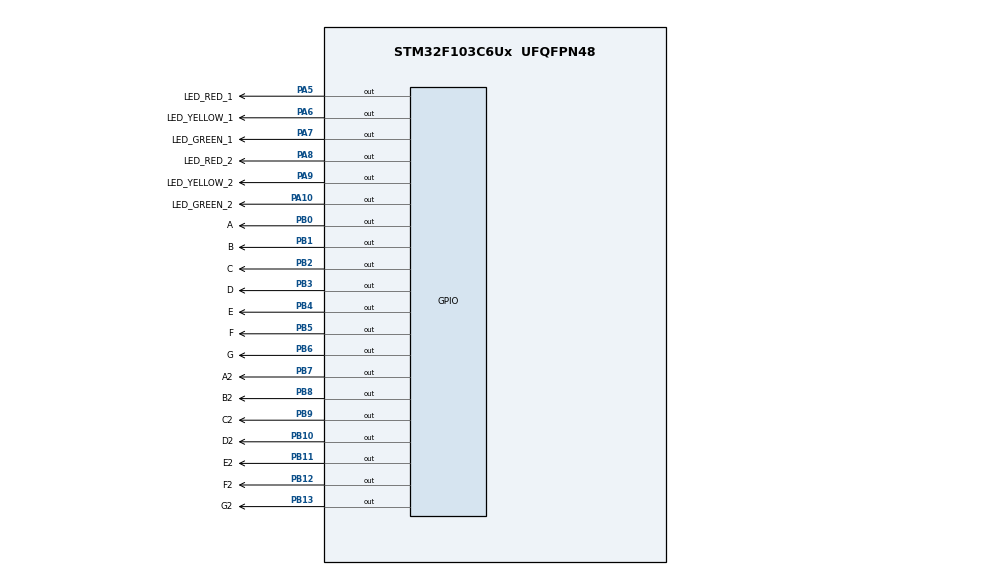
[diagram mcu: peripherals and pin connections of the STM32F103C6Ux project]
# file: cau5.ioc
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Mcu.Family=STM32F1
Mcu.Name=STM32F103C6Ux
Mcu.Package=UFQFPN48
NVIC.PriorityGroup=NVIC_PRIORITYGROUP_4
PA10.GPIO_Label=LED_GREEN_2
PA10.Signal=GPIO_Output
PA5.GPIO_Label=LED_RED_1
PA5.Signal=GPIO_Output
PA6.GPIO_Label=LED_YELLOW_1
PA6.Signal=GPIO_Output
PA7.GPIO_Label=LED_GREEN_1
PA7.Signal=GPIO_Output
PA8.GPIO_Label=LED_RED_2
PA8.Signal=GPIO_Output
PA9.GPIO_Label=LED_YELLOW_2
PA9.Signal=GPIO_Output
PB0.GPIO_Label=A
PB0.Signal=GPIO_Output
PB1.GPIO_Label=B
PB1.Signal=GPIO_Output
PB10.GPIO_Label=D2
PB10.Signal=GPIO_Output
PB11.GPIO_Label=E2
PB11.Signal=GPIO_Output
PB12.GPIO_Label=F2
PB12.Signal=GPIO_Output
PB13.GPIO_Label=G2
PB13.Signal=GPIO_Output
PB2.GPIO_Label=C
PB2.Signal=GPIO_Output
PB3.GPIO_Label=D
PB3.Signal=GPIO_Output
PB4.GPIO_Label=E
PB4.Signal=GPIO_Output
PB5.GPIO_Label=F
PB5.Signal=GPIO_Output
PB6.GPIO_Label=G
PB6.Signal=GPIO_Output
PB7.GPIO_Label=A2
PB7.Signal=GPIO_Output
PB8.GPIO_Label=B2
PB8.Signal=GPIO_Output
PB9.GPIO_Label=C2
PB9.Signal=GPIO_Output
ProjectManager.HeapSize=0x200
ProjectManager.StackSize=0x400
ProjectManager.TargetToolchain=STM32CubeIDE
RCC.APB1Freq_Value=8000000
RCC.APB2Freq_Value=8000000
board=custom

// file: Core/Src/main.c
/* USER CODE BEGIN Header */
/**
  ******************************************************************************
  * @file           : main.c
  * @brief          : Main program body
  ******************************************************************************
  * @attention
  *
  * Copyright (c) 2022 STMicroelectronics.
  * All rights reserved.
  *
  * This software is licensed under terms that can be found in the LICENSE file
  * in the root directory of this software component.
  * If no LICENSE file comes with this software, it is provided AS-IS.
  *
  ******************************************************************************
  */
/* USER CODE END Header */
#include "main.h"

/* USER CODE BEGIN PV */

int dem1 = 10;
int dem2 = 10;

/* USER CODE END PV */

void SystemClock_Config(void);
static void MX_GPIO_Init(void);
/* USER CODE BEGIN PFP */

void display7SEG(int num)
{
	if (num == 0)
	{
		HAL_GPIO_WritePin(A_GPIO_Port,A_Pin,0);
		HAL_GPIO_WritePin(B_GPIO_Port,B_Pin,0);
		HAL_GPIO_WritePin(C_GPIO_Port,C_Pin,0);
		HAL_GPIO_WritePin(D_GPIO_Port,D_Pin,0);
		HAL_GPIO_WritePin(E_GPIO_Port,E_Pin,0);
		HAL_GPIO_WritePin(F_GPIO_Port,F_Pin,0);
		HAL_GPIO_WritePin(G_GPIO_Port,G_Pin,1);
	}
	if (num == 1)
	{
		HAL_GPIO_WritePin(A_GPIO_Port,A_Pin,1);
		HAL_GPIO_WritePin(B_GPIO_Port,B_Pin,0);
		HAL_GPIO_WritePin(C_GPIO_Port,C_Pin,0);
		HAL_GPIO_WritePin(D_GPIO_Port,D_Pin,1);
		HAL_GPIO_WritePin(E_GPIO_Port,E_Pin,1);
		HAL_GPIO_WritePin(F_GPIO_Port,F_Pin,1);
		HAL_GPIO_WritePin(G_GPIO_Port,G_Pin,1);
	}
	if (num == 2)
	{
		HAL_GPIO_WritePin(A_GPIO_Port,A_Pin,0);
		HAL_GPIO_WritePin(B_GPIO_Port,B_Pin,0);
		HAL_GPIO_WritePin(C_GPIO_Port,C_Pin,1);
		HAL_GPIO_WritePin(D_GPIO_Port,D_Pin,0);
		HAL_GPIO_WritePin(E_GPIO_Port,E_Pin,0);
		HAL_GPIO_WritePin(F_GPIO_Port,F_Pin,1);
		HAL_GPIO_WritePin(G_GPIO_Port,G_Pin,0);
	}
	if (num == 3)
	{
		HAL_GPIO_WritePin(A_GPIO_Port,A_Pin,0);
		HAL_GPIO_WritePin(B_GPIO_Port,B_Pin,0);
		HAL_GPIO_WritePin(C_GPIO_Port,C_Pin,0);
		HAL_GPIO_WritePin(D_GPIO_Port,D_Pin,0);
		HAL_GPIO_WritePin(E_GPIO_Port,E_Pin,1);
		HAL_GPIO_WritePin(F_GPIO_Port,F_Pin,1);
		HAL_GPIO_WritePin(G_GPIO_Port,G_Pin,0);
	}
	if (num == 4)
	{
		HAL_GPIO_WritePin(A_GPIO_Port,A_Pin,1);
		HAL_GPIO_WritePin(B_GPIO_Port,B_Pin,0);
		HAL_GPIO_WritePin(C_GPIO_Port,C_Pin,0);
		HAL_GPIO_WritePin(D_GPIO_Port,D_Pin,1);
		HAL_GPIO_WritePin(E_GPIO_Port,E_Pin,1);
		HAL_GPIO_WritePin(F_GPIO_Port,F_Pin,0);
		HAL_GPIO_WritePin(G_GPIO_Port,G_Pin,0);
	}
	if (num == 5)
	{
		HAL_GPIO_WritePin(A_GPIO_Port,A_Pin,0);
		HAL_GPIO_WritePin(B_GPIO_Port,B_Pin,1);
		HAL_GPIO_WritePin(C_GPIO_Port,C_Pin,0);
		HAL_GPIO_WritePin(D_GPIO_Port,D_Pin,0);
		HAL_GPIO_WritePin(E_GPIO_Port,E_Pin,1);
		HAL_GPIO_WritePin(F_GPIO_Port,F_Pin,0);
		HAL_GPIO_WritePin(G_GPIO_Port,G_Pin,0);
	}
	if (num == 6)
	{
		HAL_GPIO_WritePin(A_GPIO_Port,A_Pin,0);
		HAL_GPIO_WritePin(B_GPIO_Port,B_Pin,1);
		HAL_GPIO_WritePin(C_GPIO_Port,C_Pin,0);
		HAL_GPIO_WritePin(D_GPIO_Port,D_Pin,0);
		HAL_GPIO_WritePin(E_GPIO_Port,E_Pin,0);
		HAL_GPIO_WritePin(F_GPIO_Port,F_Pin,0);
		HAL_GPIO_WritePin(G_GPIO_Port,G_Pin,0);
	}
	if (num == 7)
	{
		HAL_GPIO_WritePin(A_GPIO_Port,A_Pin,0);
		HAL_GPIO_WritePin(B_GPIO_Port,B_Pin,0);
		HAL_GPIO_WritePin(C_GPIO_Port,C_Pin,0);
		HAL_GPIO_WritePin(D_GPIO_Port,D_Pin,1);
		HAL_GPIO_WritePin(E_GPIO_Port,E_Pin,1);
		HAL_GPIO_WritePin(F_GPIO_Port,F_Pin,1);
		HAL_GPIO_WritePin(G_GPIO_Port,G_Pin,1);
	}
	if (num == 8)
	{
		HAL_GPIO_WritePin(A_GPIO_Port,A_Pin,0);
		HAL_GPIO_WritePin(B_GPIO_Port,B_Pin,0);
		HAL_GPIO_WritePin(C_GPIO_Port,C_Pin,0);
		HAL_GPIO_WritePin(D_GPIO_Port,D_Pin,0);
		HAL_GPIO_WritePin(E_GPIO_Port,E_Pin,0);
		HAL_GPIO_WritePin(F_GPIO_Port,F_Pin,0);
		HAL_GPIO_WritePin(G_GPIO_Port,G_Pin,0);
	}
	if (num == 9)
	{
		HAL_GPIO_WritePin(A_GPIO_Port,A_Pin,0);
		HAL_GPIO_WritePin(B_GPIO_Port,B_Pin,0);
		HAL_GPIO_WritePin(C_GPIO_Port,C_Pin,0);
		HAL_GPIO_WritePin(D_GPIO_Port,D_Pin,0);
		HAL_GPIO_WritePin(E_GPIO_Port,E_Pin,1);
		HAL_GPIO_WritePin(F_GPIO_Port,F_Pin,0);
		HAL_GPIO_WritePin(G_GPIO_Port,G_Pin,0);
	}
}

void display7SEG_2(int num)
{
	if (num == 0)
	{
		HAL_GPIO_WritePin(A2_GPIO_Port,A2_Pin,0);
		HAL_GPIO_WritePin(B2_GPIO_Port,B2_Pin,0);
		HAL_GPIO_WritePin(C2_GPIO_Port,C2_Pin,0);
		HAL_GPIO_WritePin(D2_GPIO_Port,D2_Pin,0);
		HAL_GPIO_WritePin(E2_GPIO_Port,E2_Pin,0);
		HAL_GPIO_WritePin(F2_GPIO_Port,F2_Pin,0);
		HAL_GPIO_WritePin(G2_GPIO_Port,G2_Pin,1);
	}
	if (num == 1)
	{
		HAL_GPIO_WritePin(A2_GPIO_Port,A2_Pin,1);
		HAL_GPIO_WritePin(B2_GPIO_Port,B2_Pin,0);
		HAL_GPIO_WritePin(C2_GPIO_Port,C2_Pin,0);
		HAL_GPIO_WritePin(D2_GPIO_Port,D2_Pin,1);
		HAL_GPIO_WritePin(E2_GPIO_Port,E2_Pin,1);
		HAL_GPIO_WritePin(F2_GPIO_Port,F2_Pin,1);
		HAL_GPIO_WritePin(G2_GPIO_Port,G2_Pin,1);
	}
	if (num == 2)
	{
		HAL_GPIO_WritePin(A2_GPIO_Port,A2_Pin,0);
		HAL_GPIO_WritePin(B2_GPIO_Port,B2_Pin,0);
		HAL_GPIO_WritePin(C2_GPIO_Port,C2_Pin,1);
		HAL_GPIO_WritePin(D2_GPIO_Port,D2_Pin,0);
		HAL_GPIO_WritePin(E2_GPIO_Port,E2_Pin,0);
		HAL_GPIO_WritePin(F2_GPIO_Port,F2_Pin,1);
		HAL_GPIO_WritePin(G2_GPIO_Port,G2_Pin,0);
	}
	if (num == 3)
	{
		HAL_GPIO_WritePin(A2_GPIO_Port,A2_Pin,0);
		HAL_GPIO_WritePin(B2_GPIO_Port,B2_Pin,0);
		HAL_GPIO_WritePin(C2_GPIO_Port,C2_Pin,0);
		HAL_GPIO_WritePin(D2_GPIO_Port,D2_Pin,0);
		HAL_GPIO_WritePin(E2_GPIO_Port,E2_Pin,1);
		HAL_GPIO_WritePin(F2_GPIO_Port,F2_Pin,1);
		HAL_GPIO_WritePin(G2_GPIO_Port,G2_Pin,0);
	}
	if (num == 4)
	{
		HAL_GPIO_WritePin(A2_GPIO_Port,A2_Pin,1);
		HAL_GPIO_WritePin(B2_GPIO_Port,B2_Pin,0);
		HAL_GPIO_WritePin(C2_GPIO_Port,C2_Pin,0);
		HAL_GPIO_WritePin(D2_GPIO_Port,D2_Pin,1);
		HAL_GPIO_WritePin(E2_GPIO_Port,E2_Pin,1);
		HAL_GPIO_WritePin(F2_GPIO_Port,F2_Pin,0);
		HAL_GPIO_WritePin(G2_GPIO_Port,G2_Pin,0);
	}
	if (num == 5)
	{
		HAL_GPIO_WritePin(A2_GPIO_Port,A2_Pin,0);
		HAL_GPIO_WritePin(B2_GPIO_Port,B2_Pin,1);
		HAL_GPIO_WritePin(C2_GPIO_Port,C2_Pin,0);
		HAL_GPIO_WritePin(D2_GPIO_Port,D2_Pin,0);
		HAL_GPIO_WritePin(E2_GPIO_Port,E2_Pin,1);
		HAL_GPIO_WritePin(F2_GPIO_Port,F2_Pin,0);
		HAL_GPIO_WritePin(G2_GPIO_Port,G2_Pin,0);
	}
	if (num == 6)
	{
		HAL_GPIO_WritePin(A2_GPIO_Port,A2_Pin,0);
		HAL_GPIO_WritePin(B2_GPIO_Port,B2_Pin,1);
		HAL_GPIO_WritePin(C2_GPIO_Port,C2_Pin,0);
		HAL_GPIO_WritePin(D2_GPIO_Port,D2_Pin,0);
		HAL_GPIO_WritePin(E2_GPIO_Port,E2_Pin,0);
		HAL_GPIO_WritePin(F2_GPIO_Port,F2_Pin,0);
		HAL_GPIO_WritePin(G2_GPIO_Port,G2_Pin,0);
	}
	if (num == 7)
	{
		HAL_GPIO_WritePin(A2_GPIO_Port,A2_Pin,0);
		HAL_GPIO_WritePin(B2_GPIO_Port,B2_Pin,0);
		HAL_GPIO_WritePin(C2_GPIO_Port,C2_Pin,0);
		HAL_GPIO_WritePin(D2_GPIO_Port,D2_Pin,1);
		HAL_GPIO_WritePin(E2_GPIO_Port,E2_Pin,1);
		HAL_GPIO_WritePin(F2_GPIO_Port,F2_Pin,1);
		HAL_GPIO_WritePin(G2_GPIO_Port,G2_Pin,1);
	}
	if (num == 8)
	{
		HAL_GPIO_WritePin(A2_GPIO_Port,A2_Pin,0);
		HAL_GPIO_WritePin(B2_GPIO_Port,B2_Pin,0);
		HAL_GPIO_WritePin(C2_GPIO_Port,C2_Pin,0);
		HAL_GPIO_WritePin(D2_GPIO_Port,D2_Pin,0);
		HAL_GPIO_WritePin(E2_GPIO_Port,E2_Pin,0);
		HAL_GPIO_WritePin(F2_GPIO_Port,F2_Pin,0);
		HAL_GPIO_WritePin(G2_GPIO_Port,G2_Pin,0);
	}
	if (num == 9)
	{
		HAL_GPIO_WritePin(A2_GPIO_Port,A2_Pin,0);
		HAL_GPIO_WritePin(B2_GPIO_Port,B2_Pin,0);
		HAL_GPIO_WritePin(C2_GPIO_Port,C2_Pin,0);
		HAL_GPIO_WritePin(D2_GPIO_Port,D2_Pin,0);
		HAL_GPIO_WritePin(E2_GPIO_Port,E2_Pin,1);
		HAL_GPIO_WritePin(F2_GPIO_Port,F2_Pin,0);
		HAL_GPIO_WritePin(G2_GPIO_Port,G2_Pin,0);
	}
}

/* USER CODE END PFP */

int main(void)
{

  /* MCU Configuration--------------------------------------------------------*/

  /* Reset of all peripherals, Initializes the Flash interface and the Systick. */
  HAL_Init();

  /* Configure the system clock */
  SystemClock_Config();

  /* Initialize all configured peripherals */
  MX_GPIO_Init();

  /* Infinite loop */
  /* USER CODE BEGIN WHILE */
  while (1)
  {
	  // DEN 111111
	  if(dem1 <= 10 && dem1 > 5)	// do
	  {
		  HAL_GPIO_WritePin(LED_RED_1_GPIO_Port,LED_RED_1_Pin,0); 		// red sang
		  HAL_GPIO_WritePin(LED_GREEN_1_GPIO_Port,LED_GREEN_1_Pin,1);	// green tat
		  HAL_GPIO_WritePin(LED_YELLOW_1_GPIO_Port,LED_YELLOW_1_Pin,1);	// yel tat

		  display7SEG(dem1 - 6);
	  }
	  if (dem1 <= 5 && dem1 > 2)	// xanh
	  {
		  HAL_GPIO_WritePin(LED_RED_1_GPIO_Port,LED_RED_1_Pin,1);		// red tat
		  HAL_GPIO_WritePin(LED_GREEN_1_GPIO_Port,LED_GREEN_1_Pin,0);	// green sang
		  HAL_GPIO_WritePin(LED_YELLOW_1_GPIO_Port,LED_YELLOW_1_Pin,1);	// yel tat

		  display7SEG(dem1 - 3);
	  }
	  if (dem1 <= 2)	// vang
	  {
		  HAL_GPIO_WritePin(LED_RED_1_GPIO_Port,LED_RED_1_Pin,1);		// red tat
		  HAL_GPIO_WritePin(LED_GREEN_1_GPIO_Port,LED_GREEN_1_Pin,1);	// green tat
		  HAL_GPIO_WritePin(LED_YELLOW_1_GPIO_Port,LED_YELLOW_1_Pin,0);	// yel sang

		  display7SEG(dem1 - 1);
	  }

	  // DEN 2222222
	  if(dem2 <= 10 && dem2 > 8)	// xanh 2 hd
	  {
		  HAL_GPIO_WritePin(LED_RED_2_GPIO_Port,LED_RED_2_Pin,1);		// red tat
		  HAL_GPIO_WritePin(LED_GREEN_2_GPIO_Port,LED_GREEN_2_Pin,0);	// green sang
		  HAL_GPIO_WritePin(LED_YELLOW_2_GPIO_Port,LED_YELLOW_2_Pin,1);	// yel tat

		  display7SEG_2(dem2 - 8);
	  }
	  if (dem2 <= 8 && dem2 > 5)	// vang 2 hd
	  {
		  HAL_GPIO_WritePin(LED_RED_2_GPIO_Port,LED_RED_2_Pin,1);		// red tat
		  HAL_GPIO_WritePin(LED_GREEN_2_GPIO_Port,LED_GREEN_2_Pin,1);	// green tat
		  HAL_GPIO_WritePin(LED_YELLOW_2_GPIO_Port,LED_YELLOW_2_Pin,0);	// yel sang

		  display7SEG_2(dem2 - 6);
	  }
	  if (dem2 <= 5)	// do 2 hd
	  {
		  HAL_GPIO_WritePin(LED_RED_2_GPIO_Port,LED_RED_2_Pin,0); 		// red sang
		  HAL_GPIO_WritePin(LED_GREEN_2_GPIO_Port,LED_GREEN_2_Pin,1);	// green tat
		  HAL_GPIO_WritePin(LED_YELLOW_2_GPIO_Port,LED_YELLOW_2_Pin,1);	// yel tat

		  display7SEG_2(dem2 - 1);
	  }

	  dem1--;
	  dem2--;

	  if (dem1 == 0)
	  {
		  dem1 = 10;
		  dem2 = 10;
	  }

	  HAL_Delay (1000);

    /* USER CODE END WHILE */

  }
}

void SystemClock_Config(void)
{
  RCC_OscInitTypeDef RCC_OscInitStruct = {0};
  RCC_ClkInitTypeDef RCC_ClkInitStruct = {0};

  /** Initializes the RCC Oscillators according to the specified parameters
  * in the RCC_OscInitTypeDef structure.
  */
  RCC_OscInitStruct.OscillatorType = RCC_OSCILLATORTYPE_HSI;
  RCC_OscInitStruct.HSIState = RCC_HSI_ON;
  RCC_OscInitStruct.HSICalibrationValue = RCC_HSICALIBRATION_DEFAULT;
  RCC_OscInitStruct.PLL.PLLState = RCC_PLL_NONE;
  if (HAL_RCC_OscConfig(&RCC_OscInitStruct) != HAL_OK)
  {
    Error_Handler();
  }

  /** Initializes the CPU, AHB and APB buses clocks
  */
  RCC_ClkInitStruct.ClockType = RCC_CLOCKTYPE_HCLK|RCC_CLOCKTYPE_SYSCLK
                              |RCC_CLOCKTYPE_PCLK1|RCC_CLOCKTYPE_PCLK2;
  RCC_ClkInitStruct.SYSCLKSource = RCC_SYSCLKSOURCE_HSI;
  RCC_ClkInitStruct.AHBCLKDivider = RCC_SYSCLK_DIV1;
  RCC_ClkInitStruct.APB1CLKDivider = RCC_HCLK_DIV1;
  RCC_ClkInitStruct.APB2CLKDivider = RCC_HCLK_DIV1;

  if (HAL_RCC_ClockConfig(&RCC_ClkInitStruct, FLASH_LATENCY_0) != HAL_OK)
  {
    Error_Handler();
  }
}

static void MX_GPIO_Init(void)
{
  GPIO_InitTypeDef GPIO_InitStruct = {0};

  /* GPIO Ports Clock Enable */
  __HAL_RCC_GPIOA_CLK_ENABLE();
  __HAL_RCC_GPIOB_CLK_ENABLE();

  /*Configure GPIO pin Output Level */
  HAL_GPIO_WritePin(GPIOA, LED_RED_1_Pin|LED_YELLOW_1_Pin|LED_GREEN_1_Pin|LED_RED_2_Pin
                          |LED_YELLOW_2_Pin|LED_GREEN_2_Pin, GPIO_PIN_RESET);

  /*Configure GPIO pin Output Level */
  HAL_GPIO_WritePin(GPIOB, A_Pin|B_Pin|C_Pin|D2_Pin
                          |E2_Pin|F2_Pin|G2_Pin|D_Pin
                          |E_Pin|F_Pin|G_Pin|A2_Pin
                          |B2_Pin|C2_Pin, GPIO_PIN_RESET);

  /*Configure GPIO pins : LED_RED_1_Pin LED_YELLOW_1_Pin LED_GREEN_1_Pin LED_RED_2_Pin
                           LED_YELLOW_2_Pin LED_GREEN_2_Pin */
  GPIO_InitStruct.Pin = LED_RED_1_Pin|LED_YELLOW_1_Pin|LED_GREEN_1_Pin|LED_RED_2_Pin
                          |LED_YELLOW_2_Pin|LED_GREEN_2_Pin;
  GPIO_InitStruct.Mode = GPIO_MODE_OUTPUT_PP;
  GPIO_InitStruct.Pull = GPIO_NOPULL;
  GPIO_InitStruct.Speed = GPIO_SPEED_FREQ_LOW;
  HAL_GPIO_Init(GPIOA, &GPIO_InitStruct);

  /*Configure GPIO pins : A_Pin B_Pin C_Pin D2_Pin
                           E2_Pin F2_Pin G2_Pin D_Pin
                           E_Pin F_Pin G_Pin A2_Pin
                           B2_Pin C2_Pin */
  GPIO_InitStruct.Pin = A_Pin|B_Pin|C_Pin|D2_Pin
                          |E2_Pin|F2_Pin|G2_Pin|D_Pin
                          |E_Pin|F_Pin|G_Pin|A2_Pin
                          |B2_Pin|C2_Pin;
  GPIO_InitStruct.Mode = GPIO_MODE_OUTPUT_PP;
  GPIO_InitStruct.Pull = GPIO_NOPULL;
  GPIO_InitStruct.Speed = GPIO_SPEED_FREQ_LOW;
  HAL_GPIO_Init(GPIOB, &GPIO_InitStruct);

}

void Error_Handler(void)
{
  __disable_irq();
  while (1)
  {
  }
}
